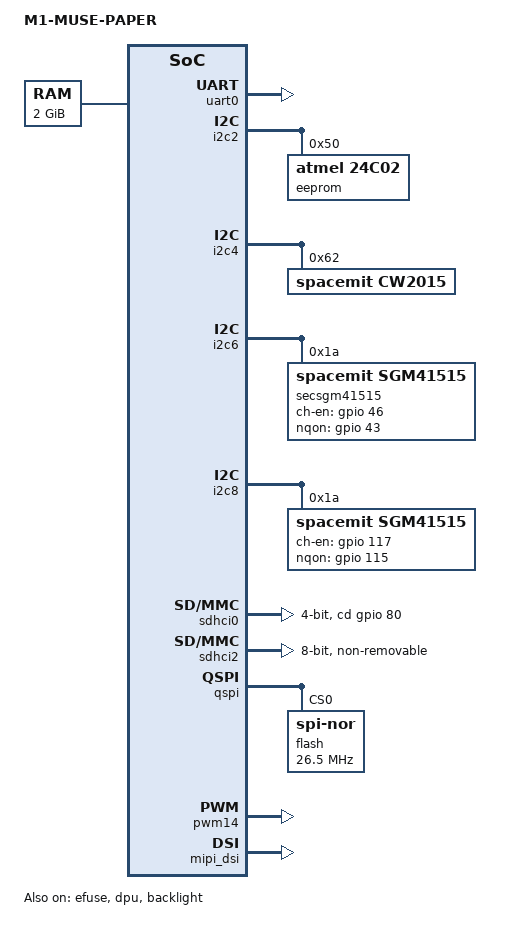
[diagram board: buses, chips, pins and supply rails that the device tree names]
// SPDX-License-Identifier: (GPL-2.0 OR MIT)
/* Copyright (c) 2023 Spacemit, Inc */

/dts-v1/;

#include "k1-x.dtsi"
#include "k1-x_pinctrl.dtsi"
#include "k1-x_spm8821.dtsi"

/ {
	model = "M1-MUSE-PAPER";

	aliases {
		efuse_power = &ldo_31;
		battery = &cw2015;
		charger = &sgm41515;
		charger-2 = &secsgm41515;
	};

	memory@0 {
		device_type = "memory";
		reg = <0x00000000 0x00000000 0x00000000 0x80000000>;
	};

	chosen {
		bootargs = "earlycon=sbi console=ttyS0,115200 debug loglevel=8,initcall_debug=1 rdinit=/init.tmp";
		stdout-path = "serial0:115200n8";
	};

	usb2hub: usb2hub {
		compatible = "spacemit,usb-hub";
		vbus-gpios = <&gpio 123 0>;	/* for usb2 hub output vbus */
		status = "disabled";
	};

	usb3hub: usb3hub {
		compatible = "spacemit,usb-hub";
		vbus-gpios = <&gpio 79 0>;	/* gpio_79 for usb3 pwren */
		status = "disabled";
	};
};

&cpus {
	timebase-frequency = <24000000>;
};

&uart0 {
	status = "okay";
};

&i2c0 {
	status = "disabled";
};

&i2c1 {
	status = "disabled";
};

&i2c2 {
	#address-cells = <1>;
	#size-cells = <0>;
	pinctrl-names = "default";
	pinctrl-0 = <&pinctrl_i2c2_0>;
	status = "okay";

	eeprom@50{
		compatible = "atmel,24c02";
		reg = <0x50>;
		vin-supply-names = "eeprom_1v8";
		status = "okay";
	};
};

&i2c3 {
	status = "disabled";
};

&i2c4 {
	#address-cells = <1>;
	#size-cells = <0>;
	pinctrl-names = "default";
	pinctrl-0 = <&pinctrl_i2c4_2>;
	status = "okay";

	cw2015: cw2015@62 {
		compatible = "spacemit,cw2015";
		reg = <0x62>;
		cellwise,battery-profile = /bits/ 8 <
			0x17 0x67 0x73 0x69 0x68 0x65 0x64 0x55
			0x75 0x60 0x4A 0x57 0x57 0x4E 0x42 0x3A
			0x30 0x28 0x23 0x1E 0x23 0x35 0x46 0x4D
			0x14 0x86 0x06 0x66 0x25 0x45 0x51 0x63
			0x72 0x69 0x66 0x6B 0x3F 0x1B 0x78 0x39
			0x0A 0x2F 0x1A 0x46 0x88 0x94 0x9B 0x12
			0x3B 0x5F 0x9A 0xB6 0x80 0x57 0x7F 0xCB
			0x2F 0x00 0x64 0xA5 0xB5 0xC1 0x46 0xAE
		>;
		status = "okay";
	};
};

&i2c5 {
	pinctrl-names = "default";
	pinctrl-0 = <&pinctrl_i2c5_0>;
	status = "disabled";
};

&i2c6 {
	pinctrl-names = "default";
	pinctrl-0 = <&pinctrl_i2c6_0>;
	status = "okay";
	secsgm41515: sgm41515-2 {
		compatible = "spacemit,sgm41515";
		reg = <0x1a>;
		ch-en-gpios = <&gpio 46 0>;
		nqon-gpios = <&gpio 43 0>;

		sgm41515-ichrg-uA = <1000000>;
		sgm41515-vchrg-uV = <4350000>;
		sgm41515-cur-input-uA = <2000000>;
		status = "okay";
	};
};

&i2c7 {
	status = "disabled";
};

&i2c8 {
	sgm41515: sgm41515 {
		compatible = "spacemit,sgm41515";
		reg = <0x1a>;
		ch-en-gpios = <&gpio 117 0>;
		nqon-gpios = <&gpio 115 0>;

		sgm41515-ichrg-uA = <1000000>;
		sgm41515-vchrg-uV = <4350000>;
		sgm41515-cur-input-uA = <2000000>;
		status = "okay";
	};
};

&pinctrl {
	pinctrl-single,gpio-range = <
		&range GPIO_49  2 (MUX_MODE0 | EDGE_NONE | PULL_UP   | PAD_3V_DS4)
		&range GPIO_58  1 (MUX_MODE0 | EDGE_NONE | PULL_DOWN | PAD_1V8_DS2)
		&range GPIO_63  1 (MUX_MODE0 | EDGE_NONE | PULL_DOWN | PAD_1V8_DS2)
		&range GPIO_64  1 (MUX_MODE1 | EDGE_NONE | PULL_DOWN | PAD_1V8_DS2)
		&range GPIO_65  1 (MUX_MODE0 | EDGE_NONE | PULL_UP   | PAD_1V8_DS2)
		&range GPIO_66  2 (MUX_MODE0 | EDGE_NONE | PULL_DOWN | PAD_1V8_DS2)
		&range PRI_TDI  2 (MUX_MODE1 | EDGE_NONE | PULL_UP   | PAD_1V8_DS2)
		&range PRI_TCK  1 (MUX_MODE1 | EDGE_NONE | PULL_DOWN | PAD_1V8_DS2)
		&range PRI_TDO  1 (MUX_MODE1 | EDGE_NONE | PULL_UP   | PAD_1V8_DS2)
		&range GPIO_74  1 (MUX_MODE0 | EDGE_NONE | PULL_UP   | PAD_1V8_DS2)
		&range GPIO_79  1 (MUX_MODE0 | EDGE_NONE | PULL_UP   | PAD_1V8_DS2)
		&range GPIO_80  1 (MUX_MODE0 | EDGE_NONE | PULL_UP   | PAD_3V_DS4)
		&range GPIO_81  3 (MUX_MODE0 | EDGE_NONE | PULL_UP   | PAD_1V8_DS2)
		&range GPIO_90  1 (MUX_MODE0 | EDGE_NONE | PULL_DOWN | PAD_1V8_DS2)
		&range GPIO_91  2 (MUX_MODE0 | EDGE_NONE | PULL_UP   | PAD_1V8_DS2)
		&range DVL0     2 (MUX_MODE1 | EDGE_NONE | PULL_DOWN | PAD_1V8_DS2)
		&range GPIO_110 1 (MUX_MODE0 | EDGE_NONE | PULL_DOWN | PAD_1V8_DS2)
		&range GPIO_114 1 (MUX_MODE0 | EDGE_NONE | PULL_DOWN | PAD_1V8_DS2)
		&range GPIO_115 2 (MUX_MODE0 | EDGE_NONE | PULL_DOWN | PAD_1V8_DS2)
		&range GPIO_123 1 (MUX_MODE0 | EDGE_NONE | PULL_DOWN | PAD_1V8_DS2)
		&range GPIO_124 1 (MUX_MODE0 | EDGE_NONE | PULL_UP   | PAD_1V8_DS2)
		&range GPIO_125 3 (MUX_MODE0 | EDGE_NONE | PULL_DOWN | PAD_1V8_DS2)
	>;

	gpio80_pmx_func0: gpio80_pmx_func0 {
		pinctrl-single,pins = <
			K1X_PADCONF(GPIO_80, MUX_MODE0, (EDGE_BOTH | PULL_UP | PAD_3V_DS4))  /* mmc cd */
		>;
	};
};

&gpio{
	gpio-ranges = <
		&pinctrl 49 GPIO_49 2
		&pinctrl 58 GPIO_58 1
		&pinctrl 63 GPIO_63 1
		&pinctrl 65 GPIO_65 3
		&pinctrl 70 PRI_TDI 4
		&pinctrl 74 GPIO_74 1
		&pinctrl 79 GPIO_79 1
		&pinctrl 80 GPIO_80 4
		&pinctrl 90 GPIO_90 3
		&pinctrl 96 DVL0 2
		&pinctrl 110 GPIO_110 1
		&pinctrl 114 GPIO_114 3
		&pinctrl 123 GPIO_123 5
	>;
};

&udc {
	status = "disabled";
};

&usbphy1 {
	status = "disabled";
};

&ehci1 {
	vbus-supply = <&usb2hub>;
	status = "disabled";
};

&usb2phy {
	status = "disabled";
};

&combphy {
	status = "disabled";
};


&usbdrd3 {
	status = "disabled";
	vbus-supply = <&usb3hub>;
	dwc3@c0a00000 {
		dr_mode = "host";
		phy_type = "utmi";
		snps,dis_enblslpm_quirk;
		snps,dis_u2_susphy_quirk;
		snps,dis_u3_susphy_quirk;
		snps,dis-del-phy-power-chg-quirk;
		snps,dis-tx-ipgap-linecheck-quirk;
	};
};

&sdhci0 {
	pinctrl-names = "default";
	pinctrl-0 = <&pinctrl_mmc1 &gpio80_pmx_func0>;
	bus-width = <4>;
	cd-gpios = <&gpio 80 0>;
	cap-sd-highspeed;
	sdh-phy-module = <0>;
	clk-src-freq = <204800000>;
	status = "okay";
};

/* eMMC */
&sdhci2 {
	bus-width = <8>;
	non-removable;
	mmc-hs400-1_8v;
	mmc-hs400-enhanced-strobe;
	sdh-phy-module = <1>;
	clk-src-freq = <375000000>;
	status = "okay";
};

&qspi {
	status = "okay";
	pinctrl-names = "default";
	pinctrl-0 = <&pinctrl_qspi>;

	flash@0 {
		compatible = "jedec,spi-nor";
		reg = <0>;
		spi-max-frequency = <26500000>;
		m25p,fast-read;
		broken-flash-reset;
		status = "okay";
	};
};

&efuse {
	status = "okay";
};

&dpu {
	status = "okay";
};

&ldo_27 {
	regulator-init-microvolt = <1200000>;
	regulator-boot-on;
	regulator-state-mem {
			regulator-off-in-suspend;
	};
};

&ldo_33 {
	regulator-init-microvolt = <1800000>;
	regulator-boot-on;
	regulator-state-mem {
			regulator-off-in-suspend;
	};
};

&pwm14 {
	pinctrl-names = "default";
	pinctrl-0 = <&pinctrl_pwm14_1>;
	status = "okay";
};

&backlight {
	pwms = <&pwm14 0 2000>;
	default-brightness-level = <4>;
	status = "okay";
};

&mipi_dsi {
	status = "okay";
};

&panel {
	force-attached = "icnl9951r";
	dcp-gpios = <&gpio 34 0>;
	dcn-gpios = <&gpio 42 0>;
	avee-gpios = <&gpio 35 0>;
	avdd-gpios = <&gpio 36 0>;
	backlight = <&backlight>;
	enable-gpios = <&gpio 31 0>;
	reset-gpios = <&gpio 30 0>;
	status = "okay";
};
